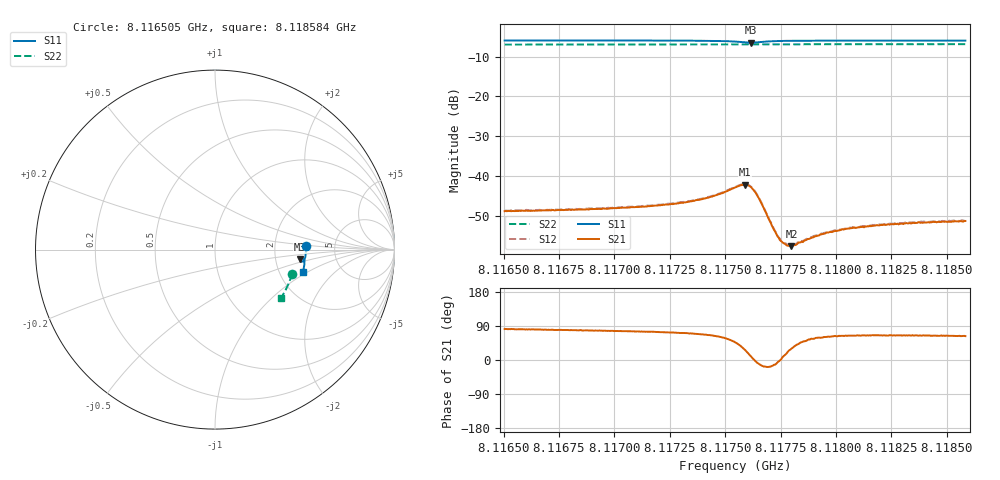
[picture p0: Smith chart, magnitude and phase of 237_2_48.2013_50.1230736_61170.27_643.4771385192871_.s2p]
#  HZ  S  RI  R  50.00
! Rohde & Schwarz Vector Network Analyzer
! Rohde-Schwarz,ZNB20-2Port,1311601062101988,3.16
! Created: UTC 3/20/2024, 11:46:42 AM
! freq[Hz]  re:S11  im:S11  re:S21  im:S21  re:S12  im:S12  re:S22  im:S22
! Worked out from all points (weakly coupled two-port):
!   401 points, 8.116505 GHz to 8.118584 GHz, reference 50 ohm
!   highest |S21| = -42.21 dB at 8.117591 GHz (marker M1); lowest = -57.7 dB at 8.117799 GHz (marker M2)
!   lowest |S11| = -6.4 dB at 8.117617 GHz (marker M3), VSWR 2.82, Z = 138 - j19.5 ohm
!   |S11| at or under -10 dB: nowhere
!   |S22| runs from -6.9 to -6.8 dB; largest |S21 - S12| = 0.0002
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8.1165047e9  0.5065 0.0208  0.000522 0.00356  0.0006 0.0036  0.4285 -0.1359
8.116853e9  0.5063 -0.00606  0.000774 0.00369  0.0008 0.00375  0.4216 -0.1594
8.1172012e9  0.5043 -0.0338  0.00121 0.00411  0.00126 0.00417  0.4131 -0.1821
8.1173156e9  0.5024 -0.0438  0.0015 0.0044  0.00158 0.00443  0.4102 -0.1896
8.1173987e9  0.5004 -0.0518  0.00196 0.00473  0.00201 0.00482  0.4078 -0.1951
8.1174819e9  0.4956 -0.0609  0.00297 0.00524  0.00309 0.00529  0.4052 -0.2002
8.1175443e9  0.4865 -0.0669  0.00488 0.00523  0.00503 0.00529  0.4031 -0.2042
8.1175911e9  0.4752 -0.0631  0.00699 0.00336  0.00717 0.00337  0.4014 -0.2069
8.1176171e9  0.4729 -0.0548  0.00713 0.0011  0.00722 0.00108  0.4008 -0.208
8.1176326e9  0.475 -0.0499  0.0064 -9.58e-05  0.00655 -0.000172  0.4003 -0.2087
8.1176482e9  0.479 -0.047  0.0054 -0.000844  0.00549 -0.000915  0.4 -0.2097
8.1177106e9  0.4929 -0.0503  0.00228 -0.000655  0.00235 -0.000686  0.3989 -0.2135
8.1177418e9  0.4959 -0.0547  0.00166 -0.000112  0.00166 -0.000148  0.3979 -0.2158
8.1177574e9  0.4969 -0.0568  0.00146 0.000167  0.0015 0.00012  0.3976 -0.2165
8.117773e9  0.4976 -0.0588  0.00133 0.000353  0.00137 0.000375  0.3973 -0.2178
8.117799e9  0.4982 -0.062  0.00113 0.000654  0.00119 0.000671  0.3964 -0.2195
8.1178094e9  0.4984 -0.0632  0.00111 0.000765  0.00114 0.000787  0.3961 -0.2201
8.1178925e9  0.4988 -0.0721  0.000944 0.00139  0.000971 0.0014  0.3935 -0.2254
8.1179653e9  0.4984 -0.0787  0.00092 0.00171  0.000946 0.00172  0.3911 -0.2301
8.1180381e9  0.4975 -0.0851  0.000953 0.00191  0.000981 0.00194  0.3888 -0.2346
8.1182408e9  0.4947 -0.1012  0.00102 0.00221  0.00107 0.00226  0.3815 -0.2471
8.1185839e9  0.4886 -0.127  0.00123 0.00242  0.00125 0.00246  0.3689 -0.2673
